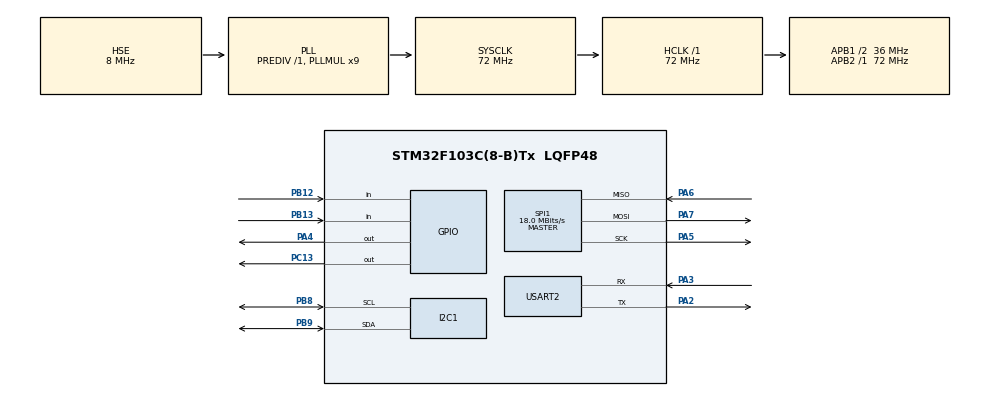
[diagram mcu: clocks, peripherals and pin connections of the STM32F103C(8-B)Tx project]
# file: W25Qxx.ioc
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Dma.Request0=USART2_RX
Dma.Request1=USART2_TX
Dma.USART2_RX.0.Direction=DMA_PERIPH_TO_MEMORY
Dma.USART2_RX.0.Instance=DMA1_Channel6
Dma.USART2_RX.0.MemDataAlignment=DMA_MDATAALIGN_BYTE
Dma.USART2_RX.0.MemInc=DMA_MINC_ENABLE
Dma.USART2_RX.0.Mode=DMA_NORMAL
Dma.USART2_RX.0.PeriphDataAlignment=DMA_PDATAALIGN_BYTE
Dma.USART2_RX.0.PeriphInc=DMA_PINC_DISABLE
Dma.USART2_RX.0.Priority=DMA_PRIORITY_LOW
Dma.USART2_TX.1.Direction=DMA_MEMORY_TO_PERIPH
Dma.USART2_TX.1.Instance=DMA1_Channel7
Dma.USART2_TX.1.MemDataAlignment=DMA_MDATAALIGN_BYTE
Dma.USART2_TX.1.MemInc=DMA_MINC_ENABLE
Dma.USART2_TX.1.Mode=DMA_NORMAL
Dma.USART2_TX.1.PeriphDataAlignment=DMA_PDATAALIGN_BYTE
Dma.USART2_TX.1.PeriphInc=DMA_PINC_DISABLE
Dma.USART2_TX.1.Priority=DMA_PRIORITY_LOW
I2C1.I2C_Mode=I2C_Fast
Mcu.Family=STM32F1
Mcu.Name=STM32F103C(8-B)Tx
Mcu.Package=LQFP48
NVIC.DMA1_Channel6_IRQn=true\:0\:0\:false\:false\:true\:false\:true\:true
NVIC.DMA1_Channel7_IRQn=true\:0\:0\:false\:false\:true\:false\:true\:true
NVIC.PriorityGroup=NVIC_PRIORITYGROUP_4
NVIC.USART2_IRQn=true\:0\:0\:false\:false\:true\:true\:true\:true
PA13.Mode=Serial_Wire
PA13.Signal=SYS_JTMS-SWDIO
PA14.Mode=Serial_Wire
PA14.Signal=SYS_JTCK-SWCLK
PA2.Mode=Asynchronous
PA2.Signal=USART2_TX
PA3.Mode=Asynchronous
PA3.Signal=USART2_RX
PA4.PinState=GPIO_PIN_SET
PA4.Signal=GPIO_Output
PA5.Mode=Full_Duplex_Master
PA5.Signal=SPI1_SCK
PA6.Mode=Full_Duplex_Master
PA6.Signal=SPI1_MISO
PA7.Mode=Full_Duplex_Master
PA7.Signal=SPI1_MOSI
PB12.GPIO_PuPd=GPIO_PULLUP
PB12.Signal=GPIO_Input
PB13.GPIO_PuPd=GPIO_PULLUP
PB13.Signal=GPIO_Input
PB8.Mode=I2C
PB8.Signal=I2C1_SCL
PB9.Mode=I2C
PB9.Signal=I2C1_SDA
PC13-TAMPER-RTC.PinState=GPIO_PIN_SET
PC13-TAMPER-RTC.Signal=GPIO_Output
PD0-OSC_IN.Mode=HSE-External-Oscillator
PD0-OSC_IN.Signal=RCC_OSC_IN
PD1-OSC_OUT.Mode=HSE-External-Oscillator
PD1-OSC_OUT.Signal=RCC_OSC_OUT
ProjectManager.HeapSize=0x200
ProjectManager.StackSize=0x400
ProjectManager.TargetToolchain=MDK-ARM V5.32
RCC.AHBFreq_Value=72000000
RCC.APB1CLKDivider=RCC_HCLK_DIV2
RCC.APB1Freq_Value=36000000
RCC.APB1TimFreq_Value=72000000
RCC.APB2Freq_Value=72000000
RCC.APB2TimFreq_Value=72000000
RCC.HCLKFreq_Value=72000000
RCC.PLLMUL=RCC_PLL_MUL9
RCC.PLLSourceVirtual=RCC_PLLSOURCE_HSE
RCC.SYSCLKFreq_VALUE=72000000
RCC.SYSCLKSource=RCC_SYSCLKSOURCE_PLLCLK
RCC.USBFreq_Value=72000000
SPI1.BaudRatePrescaler=SPI_BAUDRATEPRESCALER_4
SPI1.CalculateBaudRate=18.0 MBits/s
SPI1.Direction=SPI_DIRECTION_2LINES
SPI1.Mode=SPI_MODE_MASTER
SPI1.VirtualType=VM_MASTER
USART2.VirtualMode=VM_ASYNC
board=custom

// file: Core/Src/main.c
/* USER CODE BEGIN Header */
/**
  ******************************************************************************
  * @file           : main.c
  * @brief          : Main program body
  ******************************************************************************
  * @attention
  *
  * Copyright (c) 2025 STMicroelectronics.
  * All rights reserved.
  *
  * This software is licensed under terms that can be found in the LICENSE file
  * in the root directory of this software component.
  * If no LICENSE file comes with this software, it is provided AS-IS.
  *
  ******************************************************************************
  */
/* USER CODE END Header */
#include "main.h"
#include "dma.h"
#include "i2c.h"
#include "spi.h"
#include "usart.h"
#include "gpio.h"

/* USER CODE BEGIN Includes */
#include "W25Q64.h"
#include "OLED.h"
#include "math.h"
extern DMA_HandleTypeDef hdma_usart2_rx;
/* USER CODE END Includes */

/* USER CODE BEGIN PD */
uint8_t massage[258];
/* USER CODE END PD */

void SystemClock_Config(void);

/* USER CODE BEGIN 0 */
void HAL_UARTEx_RxEventCallback(UART_HandleTypeDef *huart, uint16_t Size){
  if(huart==&huart2){
    uint32_t a=(massage[0]<<8)+massage[1];
    W25QXX_Page_Program(massage+2,a<<8,256);
/*******用来在OLED显示屏上显示汉字字库写入进度代码，可以注释掉******/
    OLED_Clear();
    char aa[10];
    sprintf(aa,"%d",a);
    OLED_PrintASCIIString(0,0,aa,&afont16x8,OLED_COLOR_NORMAL);
    OLED_DisplayRectangle(0,27,127,16,OLED_COLOR_NORMAL);
    float x=(a*127/1303);
    OLED_DisplayFilledRectangle(1,28,(int)round(x),15,OLED_COLOR_NORMAL);
    x=(a/13.03);
    sprintf(aa,"%.2f%%",x);
    OLED_PrintASCIIString(64,0,aa,&afont16x8,OLED_COLOR_NORMAL);
    OLED_Show();
/****************************************************************/
    HAL_UARTEx_ReceiveToIdle_DMA(&huart2,(uint8_t*)massage,Size);
    __HAL_DMA_DISABLE_IT(&hdma_usart2_rx,DMA_IT_HT);
  }
}

/* USER CODE END 0 */

int main(void)
{

  /* MCU Configuration--------------------------------------------------------*/

  /* Reset of all peripherals, Initializes the Flash interface and the Systick. */
  HAL_Init();

  /* Configure the system clock */
  SystemClock_Config();

  /* Initialize all configured peripherals */
  MX_GPIO_Init();
  MX_DMA_Init();
  MX_SPI1_Init();
  MX_USART2_UART_Init();
  MX_I2C1_Init();
  /* USER CODE BEGIN 2 */
  OLED_Init();
  HAL_GPIO_WritePin(GPIOC,GPIO_PIN_13,GPIO_PIN_RESET);
  /***********************************擦除整个芯片，阻塞进程，大概要等待十几秒*********************************/
  W25QXX_Erase_chip();
  uint8_t massage1[36];
  W25QXX_Read(massage1,0x00000000,36);
  HAL_UART_Transmit(&huart2, (uint8_t*)&massage1,36, HAL_MAX_DELAY);//擦除完成后会向串口发送W25Q64芯片前36个地址里存的数据（因为擦除过了所以都位0xFF）
  /******************芯片擦除完成后记得将这四行代码注释掉，再重新编译代码下载到单片机**************************/

  HAL_UARTEx_ReceiveToIdle_DMA(&huart2,(uint8_t*)massage,258);
  __HAL_DMA_DISABLE_IT(&hdma_usart2_rx,DMA_IT_HT);

  /* USER CODE END 2 */

  /* Infinite loop */
  /* USER CODE BEGIN WHILE */

  // OLED_PrintString(0,0,"待到秋来九月八,",OLED_COLOR_NORMAL);
  // OLED_PrintString(0,16,"我花开后百花杀.",OLED_COLOR_NORMAL);
  // OLED_PrintString(0,32,"冲天香阵透长安,",OLED_COLOR_NORMAL);
  // OLED_PrintString(0,48,"满城尽带黄金甲.",OLED_COLOR_NORMAL);
  // OLED_Show();
  while (1)
  {

    /* USER CODE END WHILE */

  }
}

void SystemClock_Config(void)
{
  RCC_OscInitTypeDef RCC_OscInitStruct = {0};
  RCC_ClkInitTypeDef RCC_ClkInitStruct = {0};

  /** Initializes the RCC Oscillators according to the specified parameters
  * in the RCC_OscInitTypeDef structure.
  */
  RCC_OscInitStruct.OscillatorType = RCC_OSCILLATORTYPE_HSE;
  RCC_OscInitStruct.HSEState = RCC_HSE_ON;
  RCC_OscInitStruct.HSEPredivValue = RCC_HSE_PREDIV_DIV1;
  RCC_OscInitStruct.HSIState = RCC_HSI_ON;
  RCC_OscInitStruct.PLL.PLLState = RCC_PLL_ON;
  RCC_OscInitStruct.PLL.PLLSource = RCC_PLLSOURCE_HSE;
  RCC_OscInitStruct.PLL.PLLMUL = RCC_PLL_MUL9;
  if (HAL_RCC_OscConfig(&RCC_OscInitStruct) != HAL_OK)
  {
    Error_Handler();
  }

  /** Initializes the CPU, AHB and APB buses clocks
  */
  RCC_ClkInitStruct.ClockType = RCC_CLOCKTYPE_HCLK|RCC_CLOCKTYPE_SYSCLK
                              |RCC_CLOCKTYPE_PCLK1|RCC_CLOCKTYPE_PCLK2;
  RCC_ClkInitStruct.SYSCLKSource = RCC_SYSCLKSOURCE_PLLCLK;
  RCC_ClkInitStruct.AHBCLKDivider = RCC_SYSCLK_DIV1;
  RCC_ClkInitStruct.APB1CLKDivider = RCC_HCLK_DIV2;
  RCC_ClkInitStruct.APB2CLKDivider = RCC_HCLK_DIV1;

  if (HAL_RCC_ClockConfig(&RCC_ClkInitStruct, FLASH_LATENCY_2) != HAL_OK)
  {
    Error_Handler();
  }
}

void Error_Handler(void)
{
  __disable_irq();
  while (1)
  {
  }
}
